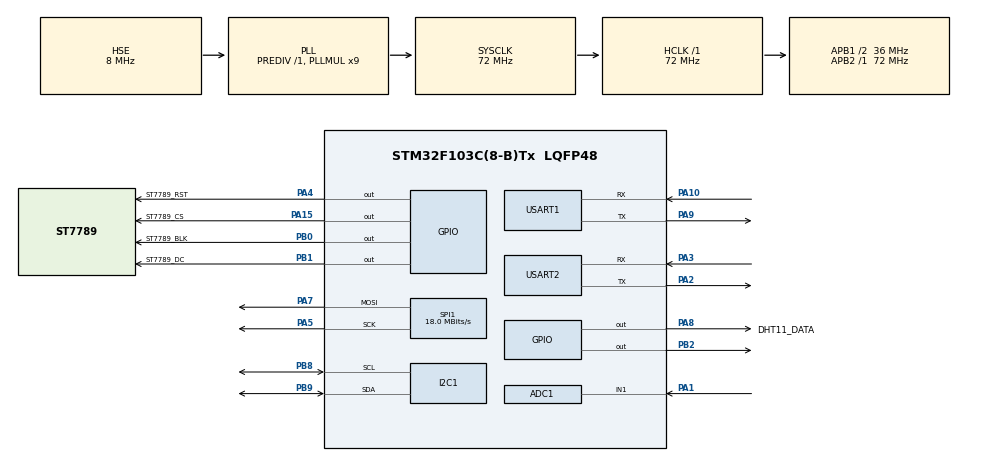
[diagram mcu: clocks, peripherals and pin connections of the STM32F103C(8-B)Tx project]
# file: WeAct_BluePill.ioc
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ADC1.Channel-0\#ChannelRegularConversion=ADC_CHANNEL_VREFINT
ADC1.Channel-1\#ChannelRegularConversion=ADC_CHANNEL_1
ADC1.ContinuousConvMode=ENABLE
ADC1.NbrOfConversion=2
ADC1.NbrOfConversionFlag=1
ADC1.Rank-0\#ChannelRegularConversion=1
ADC1.Rank-1\#ChannelRegularConversion=2
ADC1.SamplingTime-0\#ChannelRegularConversion=ADC_SAMPLETIME_71CYCLES_5
ADC1.SamplingTime-1\#ChannelRegularConversion=ADC_SAMPLETIME_239CYCLES_5
ADC1.master=1
Dma.ADC1.1.Direction=DMA_PERIPH_TO_MEMORY
Dma.ADC1.1.Instance=DMA1_Channel1
Dma.ADC1.1.MemDataAlignment=DMA_MDATAALIGN_WORD
Dma.ADC1.1.MemInc=DMA_MINC_ENABLE
Dma.ADC1.1.Mode=DMA_CIRCULAR
Dma.ADC1.1.PeriphDataAlignment=DMA_PDATAALIGN_WORD
Dma.ADC1.1.PeriphInc=DMA_PINC_DISABLE
Dma.ADC1.1.Priority=DMA_PRIORITY_LOW
Dma.I2C1_TX.2.Direction=DMA_MEMORY_TO_PERIPH
Dma.I2C1_TX.2.Instance=DMA1_Channel6
Dma.I2C1_TX.2.MemDataAlignment=DMA_MDATAALIGN_BYTE
Dma.I2C1_TX.2.MemInc=DMA_MINC_ENABLE
Dma.I2C1_TX.2.Mode=DMA_NORMAL
Dma.I2C1_TX.2.PeriphDataAlignment=DMA_PDATAALIGN_BYTE
Dma.I2C1_TX.2.PeriphInc=DMA_PINC_DISABLE
Dma.I2C1_TX.2.Priority=DMA_PRIORITY_LOW
Dma.Request0=SPI1_TX
Dma.Request1=ADC1
Dma.Request2=I2C1_TX
Dma.SPI1_TX.0.Direction=DMA_MEMORY_TO_PERIPH
Dma.SPI1_TX.0.Instance=DMA1_Channel3
Dma.SPI1_TX.0.MemDataAlignment=DMA_MDATAALIGN_BYTE
Dma.SPI1_TX.0.MemInc=DMA_MINC_ENABLE
Dma.SPI1_TX.0.Mode=DMA_NORMAL
Dma.SPI1_TX.0.PeriphDataAlignment=DMA_PDATAALIGN_BYTE
Dma.SPI1_TX.0.PeriphInc=DMA_PINC_DISABLE
Dma.SPI1_TX.0.Priority=DMA_PRIORITY_LOW
I2C1.I2C_Mode=I2C_Fast
Mcu.Family=STM32F1
Mcu.Name=STM32F103C(8-B)Tx
Mcu.Package=LQFP48
NVIC.DMA1_Channel1_IRQn=true\:0\:0\:false\:false\:true\:false\:true\:true
NVIC.DMA1_Channel3_IRQn=true\:0\:0\:false\:false\:true\:false\:true\:true
NVIC.DMA1_Channel6_IRQn=true\:0\:0\:false\:false\:true\:false\:true\:true
NVIC.I2C1_EV_IRQn=true\:3\:0\:true\:false\:true\:true\:true\:true
NVIC.PriorityGroup=NVIC_PRIORITYGROUP_4
NVIC.SPI1_IRQn=true\:0\:0\:false\:false\:true\:true\:true\:true
NVIC.TIM3_IRQn=true\:0\:0\:false\:false\:true\:true\:true\:true
NVIC.USART1_IRQn=true\:0\:0\:false\:false\:true\:true\:true\:true
PA1.Signal=ADCx_IN1
PA10.Mode=Asynchronous
PA10.Signal=USART1_RX
PA13.Mode=Serial_Wire
PA13.Signal=SYS_JTMS-SWDIO
PA14.Mode=Serial_Wire
PA14.Signal=SYS_JTCK-SWCLK
PA15.GPIO_Label=ST7789_CS
PA15.GPIO_Speed=GPIO_SPEED_FREQ_LOW
PA15.PinState=GPIO_PIN_RESET
PA15.Signal=GPIO_Output
PA2.Mode=Asynchronous
PA2.Signal=USART2_TX
PA3.Mode=Asynchronous
PA3.Signal=USART2_RX
PA4.GPIO_Label=ST7789_RST
PA4.GPIO_Speed=GPIO_SPEED_FREQ_LOW
PA4.PinState=GPIO_PIN_RESET
PA4.Signal=GPIO_Output
PA5.Mode=TX_Only_Simplex_Unidirect_Master
PA5.Signal=SPI1_SCK
PA7.Mode=TX_Only_Simplex_Unidirect_Master
PA7.Signal=SPI1_MOSI
PA8.GPIO_Label=DHT11_DATA
PA8.GPIO_PuPd=GPIO_NOPULL
PA8.GPIO_Speed=GPIO_SPEED_FREQ_HIGH
PA8.PinState=GPIO_PIN_SET
PA8.Signal=GPIO_Output
PA9.Mode=Asynchronous
PA9.Signal=USART1_TX
PB0.GPIO_Label=ST7789_BLK
PB0.GPIO_Speed=GPIO_SPEED_FREQ_LOW
PB0.PinState=GPIO_PIN_RESET
PB0.Signal=GPIO_Output
PB1.GPIO_Label=ST7789_DC
PB1.GPIO_Speed=GPIO_SPEED_FREQ_LOW
PB1.PinState=GPIO_PIN_RESET
PB1.Signal=GPIO_Output
PB2.PinState=GPIO_PIN_RESET
PB2.Signal=GPIO_Output
PB8.Mode=I2C
PB8.Signal=I2C1_SCL
PB9.Mode=I2C
PB9.Signal=I2C1_SDA
PD0-OSC_IN.Mode=HSE-External-Oscillator
PD0-OSC_IN.Signal=RCC_OSC_IN
PD1-OSC_OUT.Mode=HSE-External-Oscillator
PD1-OSC_OUT.Signal=RCC_OSC_OUT
ProjectManager.HeapSize=0x200
ProjectManager.StackSize=0x400
ProjectManager.TargetToolchain=MDK-ARM V5
RCC.ADCPresc=RCC_ADCPCLK2_DIV6
RCC.AHBFreq_Value=72000000
RCC.APB1CLKDivider=RCC_HCLK_DIV2
RCC.APB1Freq_Value=36000000
RCC.APB1TimFreq_Value=72000000
RCC.APB2Freq_Value=72000000
RCC.APB2TimFreq_Value=72000000
RCC.HCLKFreq_Value=72000000
RCC.PLLMUL=RCC_PLL_MUL9
RCC.PLLSourceVirtual=RCC_PLLSOURCE_HSE
RCC.SYSCLKFreq_VALUE=72000000
RCC.SYSCLKSource=RCC_SYSCLKSOURCE_PLLCLK
RCC.USBFreq_Value=72000000
SH.ADCx_IN1.0=ADC1_IN1,IN1
SPI1.BaudRatePrescaler=SPI_BAUDRATEPRESCALER_4
SPI1.CLKPhase=SPI_PHASE_2EDGE
SPI1.CLKPolarity=SPI_POLARITY_HIGH
SPI1.CalculateBaudRate=18.0 MBits/s
SPI1.DataSize=SPI_DATASIZE_8BIT
SPI1.Direction=SPI_DIRECTION_2LINES
SPI1.FirstBit=SPI_FIRSTBIT_MSB
SPI1.Mode=SPI_MODE_MASTER
SPI1.VirtualType=VM_MASTER
TIM1.Prescaler=71
TIM3.Period=65535
TIM3.Prescaler=71
USART1.VirtualMode=VM_ASYNC
USART2.VirtualMode=VM_ASYNC
VP_ADC1_Vref_Input.Mode=IN-Vrefint
VP_TIM1_VS_ClockSourceINT.Mode=Internal
VP_TIM3_VS_ClockSourceINT.Mode=Internal
board=custom

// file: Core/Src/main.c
/* USER CODE BEGIN Header */
/**
  ******************************************************************************
  * @file           : main.c
  * @brief          : Main program body
  ******************************************************************************
  * @attention
  *
  * Copyright (c) 2024 STMicroelectronics.
  * All rights reserved.
  *
  * This software is licensed under terms that can be found in the LICENSE file
  * in the root directory of this software component.
  * If no LICENSE file comes with this software, it is provided AS-IS.
  *
  ******************************************************************************
  */
/* USER CODE END Header */
#include "main.h"
#include "adc.h"
#include "dma.h"
#include "i2c.h"
#include "spi.h"
#include "tim.h"
#include "usart.h"
#include "gpio.h"

/* USER CODE BEGIN Includes */
#include <stdio.h>
#include <string.h>

#include "st7789.h"
#include "oled.h"
#include "esp01s.h"
#include "mq135.h"
#include "dht11.h"

/* USER CODE END Includes */

/* USER CODE BEGIN PV */
uint32_t ADC_originValue[2] = {0};

/* USER CODE END PV */

void SystemClock_Config(void);

/* USER CODE BEGIN 0 */
void led_blinky(void)
{
  HAL_GPIO_TogglePin(GPIOB, GPIO_PIN_2);
  HAL_Delay(500);
}

/* USER CODE END 0 */

int main(void)
{

  /* USER CODE BEGIN 1 */
	uint8_t temp_buffer[64];
  float temperature;
  float humidity;
	uint16_t num = 0;
  /* USER CODE END 1 */

  /* MCU Configuration--------------------------------------------------------*/

  /* Reset of all peripherals, Initializes the Flash interface and the Systick. */
  HAL_Init();

  /* Configure the system clock */
  SystemClock_Config();

  /* Initialize all configured peripherals */
  MX_GPIO_Init();
  MX_DMA_Init();
  MX_TIM3_Init();
  MX_SPI1_Init();
  MX_USART1_UART_Init();
  MX_USART2_UART_Init();
  MX_ADC1_Init();
  MX_I2C1_Init();
  MX_TIM1_Init();
  /* USER CODE BEGIN 2 */
//	OLED_Init();
//	OLED_OperateFrameBuffer(PEN_CLEAR);
//	OLED_Refresh();//全局刷新
	//	ST7789_Init();
	//	ST7789_Fill_Color(WHITE);
	// MQ135_Init();
//  while(DHT11_Init()){
//    sprintf((char *)temp_buffer,"DHT11 failed");
//		OLED_ShowString(0, 1, temp_buffer);
//    HAL_UART_Transmit(&huart1, temp_buffer, strlen((char *)temp_buffer), 0xFF);
//    HAL_Delay(500);
//  }
//  sprintf((char *)temp_buffer,"DHT11 Sucess");
//	HAL_UART_Transmit(&huart1, temp_buffer, strlen((char *)temp_buffer), 0xFF);
//	OLED_ShowString(0, 1, temp_buffer);
//	OLED_Refresh();//全局刷新
//	HAL_Delay(500);

	if(HAL_ADC_Start_DMA(&hadc1, ADC_originValue, 2)!=HAL_OK)
	{
		Error_Handler();
	}
//  HAL_UART_Transmit(&huart1, temp_buffer, strlen((char *)temp_buffer), 0xFF);
  // ESP01S_Init();
  // ESP01S_ConnectWiFi_Macro();
  // ESP01S_InitMQTT();
   uint8_t data[5] = {0x55, 0x51, 0x51, 0x51, 0x6A};

	// HAL_Delay(50); // MQ135 initialization requires a short waiting time before the correct value is displayed
  /* USER CODE END 2 */

  /* Infinite loop */
  /* USER CODE BEGIN WHILE */
  while (1)
  {
//		HAL_GPIO_TogglePin(GPIOB,GPIO_PIN_2);
//    led_blinky();
		OLED_OperateFrameBuffer(PEN_CLEAR);
//		DHT11_ReadData(&temperature,&humidity);
//    sprintf((char *)temp_buffer, "Temp=%d.%d",temperature>>8,temperature&0xFF);
//		HAL_UART_Transmit(&huart1, temp_buffer, strlen((char *)temp_buffer), 0xFF);
////		OLED_ShowString(1, 1, temp_buffer);
//		sprintf((char *)temp_buffer, "Hum=%d.%d%%",humidity>>8,humidity&0xFF);
//		HAL_UART_Transmit(&huart1, temp_buffer, strlen((char *)temp_buffer), 0xFF);
////		OLED_ShowString(2, 1, temp_buffer);
////    HAL_UART_Transmit(&huart1, temp_buffer, strlen((char *)temp_buffer), 0xFF);
//
////    HAL_UART_Transmit(&huart1, temp_buffer, strlen((char *)temp_buffer), 0xFF);
////		// sprintf((char *)temp_buffer, "MQ=%0.3fPM\r\n", MQ135_GetQuality()/1000);
////		// HAL_UART_Transmit(&huart2, temp_buffer, strlen((char *)temp_buffer), 0xFF);
//		HAL_Delay(1000);
////		OLED_ShowNumber(0,0,num,1, 4);
////		num++;

//		HAL_Delay(1000);
//		sprintf((char *)temp_buffer, "Lux=%d", ADC_originValue[1]);
//		OLED_ShowString(3, 1, temp_buffer);
//		if (DHT11_ReadData(&temperature, &humidity) == 0)
//		{
//			// 使用 sprintf 将浮点数格式化为字符串
//			sprintf((char *)temp_buffer, "Temp=%.1fC", temperature);
//			HAL_UART_Transmit(&huart1, temp_buffer, strlen((char *)temp_buffer), 0xFF);
//			OLED_ShowString(1, 1, temp_buffer);
//			HAL_Delay(50);
//			sprintf((char *)temp_buffer, "Hum=%.1f%%", humidity);
//			HAL_UART_Transmit(&huart1, temp_buffer, strlen((char *)temp_buffer), 0xFF);
//			OLED_ShowString(2, 1, temp_buffer);
//		}
//		else
//		{
//			// 处理错误
//			HAL_Delay(100);
//			sprintf((char *)temp_buffer, "Error DHT11");
//			HAL_UART_Transmit(&huart1, temp_buffer, strlen((char *)temp_buffer), 0xFF);
//			OLED_ShowString(0, 5, temp_buffer);
//			HAL_Delay(1000);
//		}

		// sprintf((char *)temp_buffer, "Temp=1000,Hum=1234,Lux=2345,Volt=4000,LED1=On,LCD=Off\r\n");
		// HAL_UART_Transmit(&huart1, temp_buffer, strlen((char *)temp_buffer), 0xFFFF);
		// OLED_Refresh();//全局刷新
		// HAL_Delay(1000);
		// sprintf((char *)temp_buffer, "Temp=1200,Hum=1384,Lux=1000,Volt=4000,LED1=Off,LCD=On\r\n");
		// HAL_UART_Transmit(&huart1, temp_buffer, strlen((char *)temp_buffer), 0xFFFF);
		HAL_Delay(1000);

		HAL_UART_Transmit(&huart1, data, sizeof(data), 0xFFFF);
    /* USER CODE END WHILE */

  }
}

void SystemClock_Config(void)
{
  RCC_OscInitTypeDef RCC_OscInitStruct = {0};
  RCC_ClkInitTypeDef RCC_ClkInitStruct = {0};
  RCC_PeriphCLKInitTypeDef PeriphClkInit = {0};

  /** Initializes the RCC Oscillators according to the specified parameters
  * in the RCC_OscInitTypeDef structure.
  */
  RCC_OscInitStruct.OscillatorType = RCC_OSCILLATORTYPE_HSE;
  RCC_OscInitStruct.HSEState = RCC_HSE_ON;
  RCC_OscInitStruct.HSEPredivValue = RCC_HSE_PREDIV_DIV1;
  RCC_OscInitStruct.HSIState = RCC_HSI_ON;
  RCC_OscInitStruct.PLL.PLLState = RCC_PLL_ON;
  RCC_OscInitStruct.PLL.PLLSource = RCC_PLLSOURCE_HSE;
  RCC_OscInitStruct.PLL.PLLMUL = RCC_PLL_MUL9;
  if (HAL_RCC_OscConfig(&RCC_OscInitStruct) != HAL_OK)
  {
    Error_Handler();
  }

  /** Initializes the CPU, AHB and APB buses clocks
  */
  RCC_ClkInitStruct.ClockType = RCC_CLOCKTYPE_HCLK|RCC_CLOCKTYPE_SYSCLK
                              |RCC_CLOCKTYPE_PCLK1|RCC_CLOCKTYPE_PCLK2;
  RCC_ClkInitStruct.SYSCLKSource = RCC_SYSCLKSOURCE_PLLCLK;
  RCC_ClkInitStruct.AHBCLKDivider = RCC_SYSCLK_DIV1;
  RCC_ClkInitStruct.APB1CLKDivider = RCC_HCLK_DIV2;
  RCC_ClkInitStruct.APB2CLKDivider = RCC_HCLK_DIV1;

  if (HAL_RCC_ClockConfig(&RCC_ClkInitStruct, FLASH_LATENCY_2) != HAL_OK)
  {
    Error_Handler();
  }
  PeriphClkInit.PeriphClockSelection = RCC_PERIPHCLK_ADC;
  PeriphClkInit.AdcClockSelection = RCC_ADCPCLK2_DIV6;
  if (HAL_RCCEx_PeriphCLKConfig(&PeriphClkInit) != HAL_OK)
  {
    Error_Handler();
  }
}

void Error_Handler(void)
{
  __disable_irq();
  while (1)
  {
  }
}
